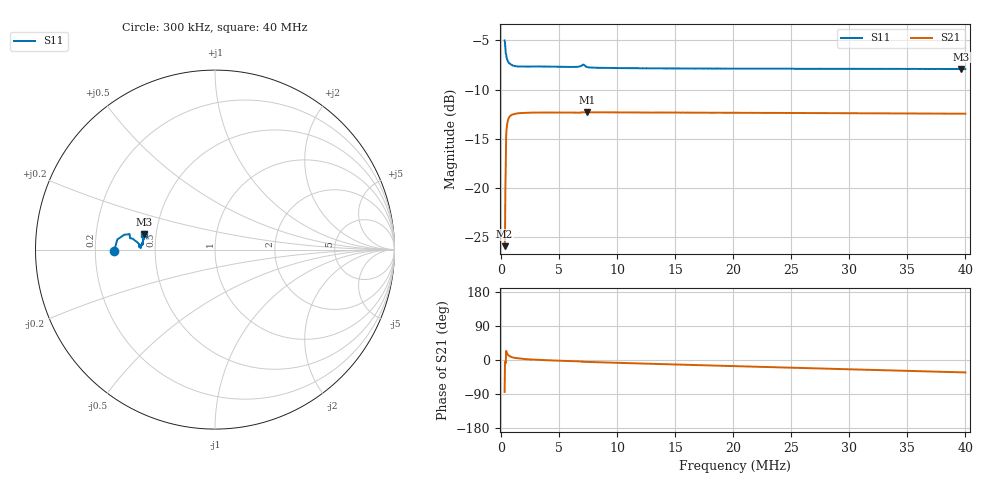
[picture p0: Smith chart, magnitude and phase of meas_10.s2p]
# HZ S RI R 50
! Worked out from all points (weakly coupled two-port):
!   1206 points, 300 kHz to 40 MHz, reference 50 ohm
!   highest |S21| = -12.31 dB at 7.416 MHz (marker M1); lowest = -25.9 dB at 300 kHz (marker M2)
!   lowest |S11| = -7.9 dB at 39.64 MHz (marker M3), VSWR 2.35, Z = 21.5 + j4.35 ohm
!   |S11| at or under -10 dB: nowhere
!   S12 and S22 are empty: the file has one direction only
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300000  -0.5623 -0.0106  0.00509 -0.0502  0 0  0 0
530622  -0.4451 0.05  0.2044 0.0604  0 0  0 0
563568  -0.4408 0.047  0.2108 0.0559  0 0  0 0
596514  -0.437 0.0443  0.2157 0.052  0 0  0 0
629460  -0.4341 0.0416  0.2193 0.0485  0 0  0 0
695352  -0.4295 0.0376  0.2247 0.0431  0 0  0 0
794190  -0.4246 0.0331  0.2292 0.0365  0 0  0 0
958920  -0.4197 0.0273  0.2339 0.0292  0 0  0 0
1222488  -0.4157 0.0207  0.2374 0.0222  0 0  0 0
2177922  -0.414 0.0121  0.2408 0.00943  0 0  0 0
6230280  -0.4117 0.0164  0.241 -0.0131  0 0  0 0
6625632  -0.4128 0.0153  0.2409 -0.0147  0 0  0 0
6922146  -0.4178 0.0113  0.2416 -0.0195  0 0  0 0
7152768  -0.4209 0.0247  0.2412 -0.0199  0 0  0 0
7416336  -0.411 0.0252  0.2414 -0.0212  0 0  0 0
8767122  -0.4074 0.0231  0.2408 -0.0265  0 0  0 0
1.354429e7  -0.4047 0.0308  0.2377 -0.0443  0 0  0 0
2.016644e7  -0.402 0.0436  0.2313 -0.0674  0 0  0 0
2.678858e7  -0.3994 0.0574  0.223 -0.0893  0 0  0 0
3.341073e7  -0.3965 0.0715  0.2127 -0.11  0 0  0 0
3.963752e7  -0.3932 0.0848  0.2011 -0.1281  0 0  0 0
3.999993e7  -0.3931 0.0852  0.2002 -0.1292  0 0  0 0
